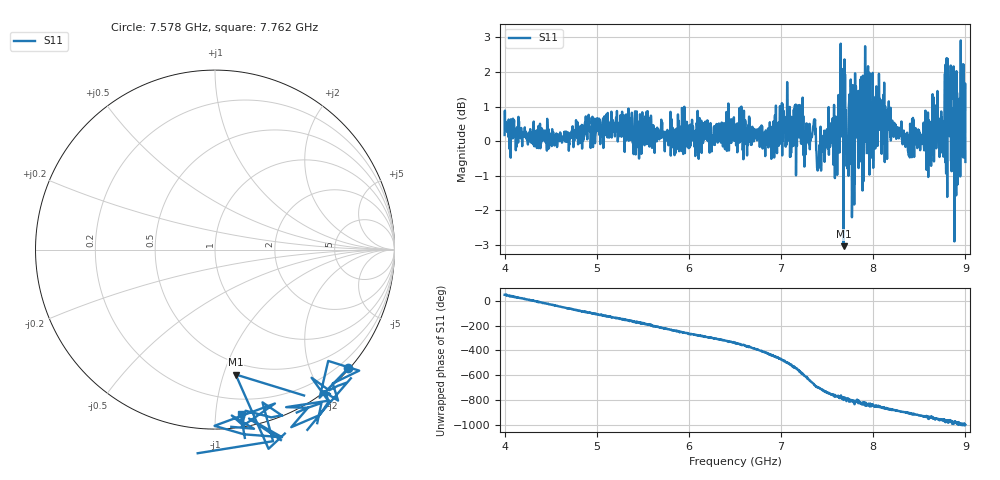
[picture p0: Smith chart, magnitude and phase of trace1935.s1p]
! Created with skrf 1.8.0 (http://scikit-rf.org).
# Hz S RI R 50.0
!freq ReS11 ImS11
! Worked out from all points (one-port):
!   1601 points, 4 GHz to 9 GHz, reference 50 ohm
!   lowest |S11| = -3.0 dB at 7.678 GHz (marker M1), VSWR 5.79, Z = 19.8 - j54.9 ohm
!   |S11| at or under -10 dB: nowhere
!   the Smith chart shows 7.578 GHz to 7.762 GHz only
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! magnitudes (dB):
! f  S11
! 4 GHz  0.2
! 4.625 GHz  0.0
! 5.25 GHz  0.1
! 5.875 GHz  0.3
! 6.5 GHz  0.3
! 7.125 GHz  0.6
! 7.269 GHz  0.2
! 7.353 GHz  0.5
! 7.409 GHz  -0.8
! 7.541 GHz  0.1
! 7.594 GHz  0.7
! 7.647 GHz  2.8
! 7.653 GHz  0.7
! 7.678 GHz  -3.0
! 7.7 GHz  -0.4
! 7.75 GHz  -0.6
! 7.775 GHz  1.4
! 7.828 GHz  0.9
! 7.875 GHz  -0.1
! 7.928 GHz  0.9
! 7.981 GHz  -0.5
! 8.05 GHz  0.7
! 8.375 GHz  -0.1
! 8.766 GHz  0.1
! 8.819 GHz  0.2
! 8.906 GHz  1.2
! 8.972 GHz  0.7
! 9 GHz  -0.6
